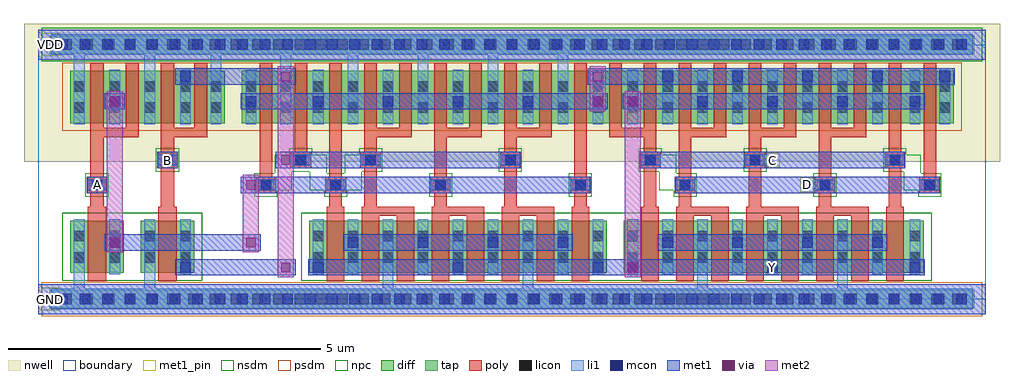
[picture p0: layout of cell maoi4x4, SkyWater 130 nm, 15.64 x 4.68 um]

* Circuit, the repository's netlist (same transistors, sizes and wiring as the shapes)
** sch_path: /foss/designs/maoi4x4.sch
.subckt maoi4x4 A VDD GND B Y D C
*.PININFO A:I VDD:B GND:B B:I Y:O D:I C:I
XM9 Anot A GND GND sky130_fd_pr__nfet_01v8 L=0.29 W=0.84 nf=1
XM2 Y Anot net1 GND sky130_fd_pr__nfet_01v8 L=0.28 W=3.36 nf=4
XM5 net3 Anot VDD VDD sky130_fd_pr__pfet_01v8 L=0.2 W=4.2 nf=5
XM10 Anot A VDD VDD sky130_fd_pr__pfet_01v8 L=0.21 W=1.68 nf=2
XM7 net3 Bnot VDD VDD sky130_fd_pr__pfet_01v8 L=0.2 W=4.2 nf=5
XM8 Y D net3 VDD sky130_fd_pr__pfet_01v8 L=0.2 W=4.2 nf=5
XM6 Y C net3 VDD sky130_fd_pr__pfet_01v8 L=0.2 W=4.2 nf=5
XM4 Y C net2 GND sky130_fd_pr__nfet_01v8 L=0.28 W=3.36 nf=4
XM3 net2 D GND GND sky130_fd_pr__nfet_01v8 L=0.28 W=3.36 nf=4
XM1 net1 Bnot GND GND sky130_fd_pr__nfet_01v8 L=0.28 W=3.36 nf=4
XM11 Bnot B GND GND sky130_fd_pr__nfet_01v8 L=0.29 W=0.84 nf=1
XM12 Bnot B VDD VDD sky130_fd_pr__pfet_01v8 L=0.21 W=1.68 nf=2
.ends

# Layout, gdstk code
import gdstk
lib = gdstk.Library(unit=1e-6, precision=1e-09)
def R(c, l, rs):  # rectangles x0, y0, x1, y1
    for r in rs: c.add(gdstk.rectangle(r[:2], r[2:], *l))
def A(c, l, x, y, w, h, nx, ny, dx, dy):  # array of equal rectangles
    R(c, l, [(x+i*dx, y+j*dy, x+i*dx+w, y+j*dy+h) for i in range(nx) for j in range(ny)])
nwell = (64, 20)
diff = (65, 20)
tap = (65, 44)
poly = (66, 20)
licon = (66, 44)
li1 = (67, 20)
mcon = (67, 44)
met1_pin = (68, 16)
met1 = (68, 20)
via = (68, 44)
met2 = (69, 20)
nsdm = (93, 44)
psdm = (94, 20)
npc = (95, 20)
boundary = (235, 4)

maoi4x4 = lib.new_cell('maoi4x4')
R(maoi4x4, nwell, [(-0.23,2.2,15.41,4.41)])
R(maoi4x4, diff, [(0.51,0.42,1.37,1.26), (1.64,0.42,2.5,1.26), (4.34,0.42,9.11,1.26), (9.38,0.42,14.19,1.26), (0.51,2.82,2.99,3.66), (3.26,2.82,14.67,3.66)])
R(maoi4x4, tap, [(0.18,-0.145,15,0.145), (0.18,3.935,15,4.225)])
A(maoi4x4, poly, 5.185, 0.29, 0.28, 1.045, 6, 1, 0.56, 0)
A(maoi4x4, poly, 10.225, 0.29, 0.28, 1.045, 6, 1, 0.56, 0)
A(maoi4x4, poly, 5.185, 1.335, 0.84, 0.15, 3, 1, 1.12, 0)
A(maoi4x4, poly, 10.225, 1.335, 0.84, 0.15, 3, 1, 1.12, 0)
A(maoi4x4, poly, 5.225, 1.485, 0.2, 0.61, 3, 1, 2.24, 0)
A(maoi4x4, poly, 5.16, 2.095, 0.33, 0.27, 3, 1, 2.24, 0)
A(maoi4x4, poly, 5.225, 2.365, 0.2, 0.23, 3, 1, 2.24, 0)
A(maoi4x4, poly, 5.225, 2.595, 0.76, 0.15, 3, 1, 1.12, 0)
A(maoi4x4, poly, 9.145, 2.595, 0.76, 0.15, 4, 1, 1.12, 0)
A(maoi4x4, poly, 0.835, 2.745, 0.21, 1.045, 3, 1, 0.565, 0)
A(maoi4x4, poly, 5.225, 2.745, 0.2, 1.045, 6, 1, 0.56, 0)
A(maoi4x4, poly, 9.145, 2.745, 0.2, 1.045, 8, 1, 0.56, 0)
R(maoi4x4, poly, [(0.795,0.29,1.085,1.485), (1.925,0.29,2.215,1.485), (4.625,0.29,4.905,1.485), (8.545,0.29,8.825,1.485), (9.665,0.29,9.945,1.485), (13.585,0.29,13.865,1.485), (0.835,1.485,1.045,1.695), (1.965,1.485,2.175,2.095), (4.665,1.485,4.865,1.695), (6.345,1.485,6.545,1.695), (8.585,1.485,8.785,1.695), (10.265,1.485,10.465,1.695), (11.385,1.485,11.585,2.095), (12.505,1.485,12.705,1.695), (13.625,1.485,13.825,2.095), (0.775,1.695,1.105,1.965), (3.48,1.695,3.81,1.965), (4.6,1.695,4.93,1.965), (6.28,1.695,6.61,1.965), (8.52,1.695,8.85,1.965), (10.2,1.695,10.53,1.965), (12.44,1.695,12.77,1.965), (14.12,1.695,14.45,1.965), (0.835,1.965,1.045,2.595), (3.545,1.965,3.745,3.79), (4.665,1.965,4.865,3.79), (6.345,1.965,6.545,2.595), (8.585,1.965,8.785,3.79), (10.265,1.965,10.465,2.595), (12.505,1.965,12.705,2.595), (14.185,1.965,14.385,3.79), (1.905,2.095,2.235,2.365), (4.04,2.095,4.37,2.365), (11.32,2.095,11.65,2.365), (13.56,2.095,13.89,2.365), (1.965,2.365,2.175,2.595), (4.105,2.365,4.305,3.79), (11.385,2.365,11.585,2.595), (13.625,2.365,13.825,3.79), (0.835,2.595,1.61,2.745), (1.965,2.595,2.705,2.745), (2.495,2.745,2.705,3.79)])
A(maoi4x4, licon, 0.365, -0.085, 0.17, 0.17, 43, 2, 0.34, 4.08)
A(maoi4x4, licon, 4.4, 0.585, 0.17, 0.17, 17, 2, 0.56, 0.34)
A(maoi4x4, licon, 5.24, 2.145, 0.17, 0.17, 3, 1, 2.24, 0)
A(maoi4x4, licon, 2.76, 2.985, 0.17, 0.17, 3, 2, 0.56, 0.34)
A(maoi4x4, licon, 4.4, 2.985, 0.17, 0.17, 17, 2, 0.56, 0.34)
R(maoi4x4, licon, [(0.57,0.585,0.74,0.755), (1.14,0.585,1.31,0.755), (1.7,0.585,1.87,0.755), (2.27,0.585,2.44,0.755), (13.96,0.585,14.13,0.755), (0.57,0.925,0.74,1.095), (1.14,0.925,1.31,1.095), (1.7,0.925,1.87,1.095), (2.27,0.925,2.44,1.095), (13.96,0.925,14.13,1.095), (0.855,1.745,1.025,1.915), (3.56,1.745,3.73,1.915), (4.68,1.745,4.85,1.915), (6.36,1.745,6.53,1.915), (8.6,1.745,8.77,1.915), (10.28,1.745,10.45,1.915), (12.52,1.745,12.69,1.915), (14.2,1.745,14.37,1.915), (1.985,2.145,2.155,2.315), (4.12,2.145,4.29,2.315), (11.4,2.145,11.57,2.315), (13.64,2.145,13.81,2.315), (0.57,2.985,0.74,3.155), (1.14,2.985,1.31,3.155), (1.7,2.985,1.87,3.155), (2.27,2.985,2.44,3.155), (13.96,2.985,14.13,3.155), (14.44,2.985,14.61,3.155), (0.57,3.325,0.74,3.495), (1.14,3.325,1.31,3.495), (1.7,3.325,1.87,3.495), (2.27,3.325,2.44,3.495), (13.96,3.325,14.13,3.495), (14.44,3.325,14.61,3.495)])
A(maoi4x4, li1, 6.08, 0.4, 0.17, 0.88, 3, 1, 0.56, 0)
A(maoi4x4, li1, 8.32, 0.4, 0.17, 0.88, 4, 1, 0.56, 0)
A(maoi4x4, li1, 11.12, 0.4, 0.17, 0.88, 3, 1, 0.56, 0)
A(maoi4x4, li1, 5.16, 2.145, 0.33, 0.17, 3, 1, 2.24, 0)
A(maoi4x4, li1, 4.4, 2.8, 0.17, 0.88, 5, 1, 1.12, 0)
A(maoi4x4, li1, 4.96, 2.8, 0.17, 1.115, 4, 1, 1.12, 0)
A(maoi4x4, li1, 9.44, 2.8, 0.17, 0.88, 8, 1, 0.56, 0)
R(maoi4x4, li1, [(0.21,-0.165,14.97,0.165), (0.57,0.165,0.74,1.28), (1.7,0.165,1.87,1.28), (5.52,0.165,5.69,1.28), (7.76,0.165,7.93,1.28), (10.56,0.165,10.73,1.28), (12.8,0.165,12.97,1.28), (1.14,0.4,1.31,1.28), (2.27,0.4,2.44,1.28), (4.4,0.4,4.57,1.28), (4.96,0.4,5.13,1.28), (13.36,0.4,13.53,1.28), (13.96,0.4,14.13,1.28), (0.775,1.745,1.105,1.915), (3.48,1.745,3.81,1.915), (4.6,1.745,4.93,1.915), (6.28,1.745,6.61,1.915), (8.52,1.745,8.85,1.915), (10.2,1.745,10.53,1.915), (12.44,1.745,12.77,1.915), (14.12,1.745,14.45,1.915), (1.905,2.145,2.235,2.315), (4.04,2.145,4.37,2.315), (11.32,2.145,11.65,2.315), (13.56,2.145,13.89,2.315), (0.57,2.8,0.74,3.915), (1.14,2.8,1.31,3.68), (1.7,2.8,1.87,3.915), (2.27,2.8,2.44,3.68), (2.76,2.8,2.93,3.915), (3.32,2.8,3.49,3.68), (3.88,2.8,4.05,3.915), (13.96,2.8,14.13,3.68), (14.44,2.8,14.61,3.68), (0.21,3.915,14.97,4.245)])
A(maoi4x4, mcon, 0.305, -0.085, 0.17, 0.17, 41, 2, 0.36, 4.08)
A(maoi4x4, mcon, 4.4, 0.425, 0.17, 0.17, 3, 1, 2.24, 0)
A(maoi4x4, mcon, 4.96, 0.825, 0.17, 0.17, 4, 1, 1.12, 0)
A(maoi4x4, mcon, 10, 0.825, 0.17, 0.17, 4, 2, 1.12, 2.66)
A(maoi4x4, mcon, 5.24, 2.145, 0.17, 0.17, 3, 1, 2.24, 0)
A(maoi4x4, mcon, 4.4, 3.085, 0.17, 0.17, 5, 1, 1.12, 0)
A(maoi4x4, mcon, 9.44, 3.085, 0.17, 0.17, 4, 1, 1.12, 0)
R(maoi4x4, mcon, [(2.27,0.425,2.44,0.595), (9.44,0.425,9.61,0.595), (11.68,0.425,11.85,0.595), (13.96,0.425,14.13,0.595), (1.14,0.825,1.31,0.995), (0.855,1.745,1.025,1.915), (3.56,1.745,3.73,1.915), (4.68,1.745,4.85,1.915), (6.36,1.745,6.53,1.915), (8.6,1.745,8.77,1.915), (10.28,1.745,10.45,1.915), (12.52,1.745,12.69,1.915), (14.2,1.745,14.37,1.915), (1.985,2.145,2.155,2.315), (4.12,2.145,4.29,2.315), (11.4,2.145,11.57,2.315), (13.64,2.145,13.81,2.315), (1.14,3.085,1.31,3.255), (3.32,3.085,3.49,3.255), (13.96,3.085,14.13,3.255), (2.27,3.485,2.44,3.655), (14.44,3.485,14.61,3.655)])
R(maoi4x4, met1_pin, [(0.05,-0.18,0.35,0.18), (11.65,0.395,11.88,0.625), (0.825,1.715,1.055,1.945), (12.21,1.715,12.44,1.945), (1.955,2.115,2.185,2.345), (11.65,2.115,11.88,2.345), (0.05,3.9,0.35,4.26)])
R(maoi4x4, met1, [(0,-0.24,15.18,0.24), (2.195,0.38,4.125,0.64), (4.325,0.38,14.205,0.64), (1.065,0.78,3.565,1.04), (4.885,0.78,8.565,1.04), (9.925,0.78,13.605,1.04), (0.78,1.7,1.1,1.96), (3.245,1.7,8.845,1.96), (10.205,1.7,14.445,1.96), (1.91,2.1,2.23,2.36), (3.805,2.1,7.725,2.36), (9.645,2.1,13.885,2.36), (1.065,3.04,1.385,3.3), (3.245,3.04,9.125,3.3), (9.365,3.04,14.205,3.3), (2.195,3.44,4.125,3.7), (8.805,3.44,14.685,3.7), (0,3.84,15.18,4.32)])
R(maoi4x4, via, [(3.89,0.435,4.04,0.585), (9.45,0.435,9.6,0.585), (1.15,0.835,1.3,0.985), (3.33,0.835,3.48,0.985), (3.33,1.755,3.48,1.905), (3.89,2.155,4.04,2.305), (1.15,3.095,1.3,3.245), (8.89,3.095,9.04,3.245), (9.45,3.095,9.6,3.245), (3.89,3.495,4.04,3.645), (8.89,3.495,9.04,3.645)])
R(maoi4x4, met2, [(3.835,0.35,4.095,3.73), (9.395,0.35,9.655,3.33), (1.095,0.75,1.355,3.33), (3.275,0.75,3.535,1.99), (8.835,3.01,9.095,3.73)])
R(maoi4x4, nsdm, [(0.385,0.295,2.625,1.385), (4.215,0.295,14.315,1.385), (0.055,3.81,15.125,4.35)])
R(maoi4x4, psdm, [(0.055,-0.27,15.125,0.27), (0.385,2.695,14.795,3.785)])
A(maoi4x4, npc, 3.79, 2.015, 0.27, 0.03, 3, 1, 0.56, 0)
R(maoi4x4, npc, [(0.755,1.645,1.125,2.015), (3.46,1.645,3.83,1.745), (4.58,1.645,4.95,1.745), (6.26,1.645,6.63,2.015), (8.5,1.645,8.87,2.015), (10.18,1.645,10.55,1.745), (12.42,1.645,12.79,2.015), (14.1,1.645,14.47,1.745), (3.46,1.745,4.06,2.015), (4.35,1.745,5.18,2.015), (9.95,1.745,10.55,2.015), (13.87,1.745,14.47,2.015), (9.95,2.015,10.22,2.045), (13.87,2.015,14.14,2.045), (1.885,2.045,2.255,2.415), (3.79,2.045,4.62,2.315), (4.91,2.045,5.51,2.315), (7.38,2.045,7.75,2.415), (9.62,2.045,10.22,2.315), (11.3,2.045,11.67,2.415), (13.54,2.045,14.14,2.315), (4.02,2.315,4.39,2.415), (5.14,2.315,5.51,2.415), (9.62,2.315,9.99,2.415), (13.54,2.315,13.91,2.415)])
R(maoi4x4, boundary, [(0,0,15.18,4.08)])
maoi4x4.add(gdstk.Label('A', (0.94,1.83), layer=68, texttype=5))
maoi4x4.add(gdstk.Label('VDD', (0.2,4.08), layer=68, texttype=5))
maoi4x4.add(gdstk.Label('GND', (0.2,0), layer=68, texttype=5))
maoi4x4.add(gdstk.Label('B', (2.07,2.23), layer=68, texttype=5))
maoi4x4.add(gdstk.Label('Y', (11.765,0.51), layer=68, texttype=5))
maoi4x4.add(gdstk.Label('D', (12.325,1.83), layer=68, texttype=5))
maoi4x4.add(gdstk.Label('C', (11.765,2.23), layer=68, texttype=5))

lib.write_gds('maoi4x4.gds')
